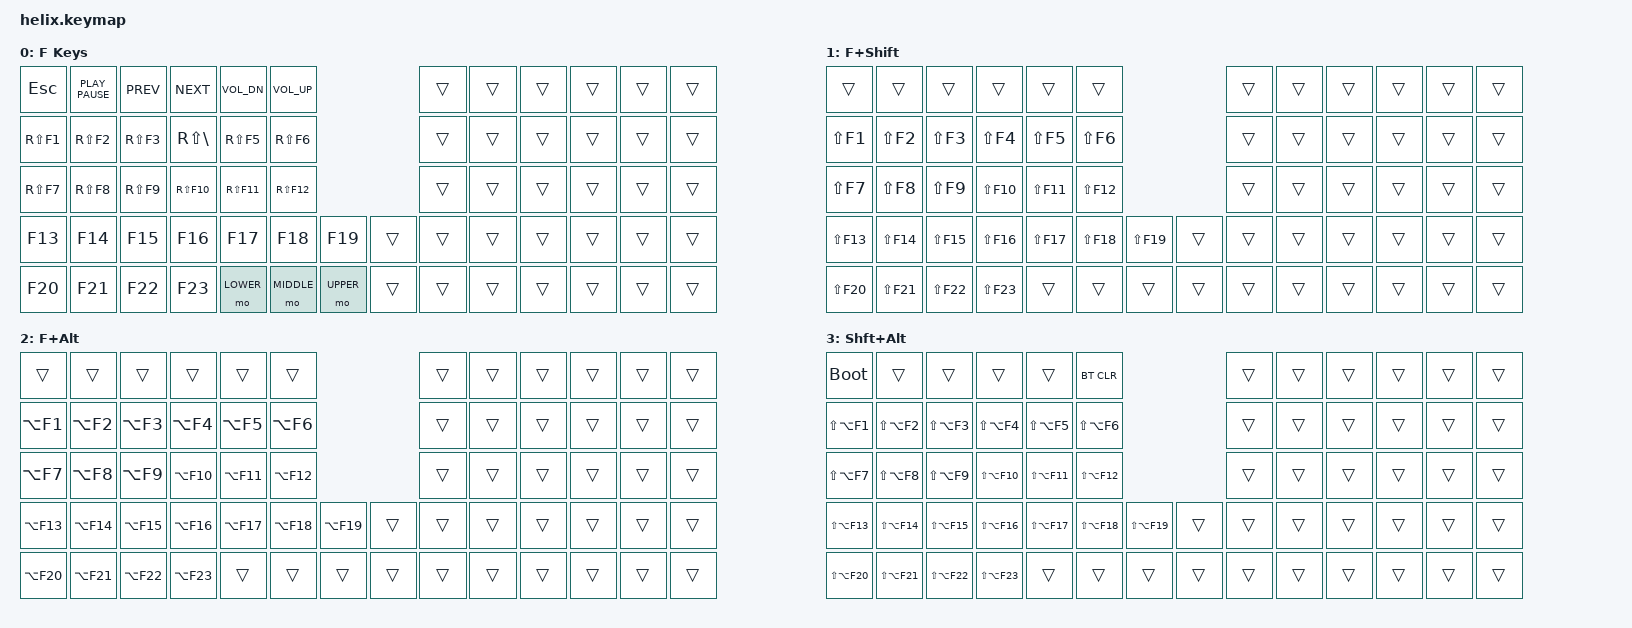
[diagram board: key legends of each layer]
/*
 * Copyright (c) 2020 The ZMK Contributors
 *
 * SPDX-License-Identifier: MIT
 */

#include <behaviors.dtsi>
#include <dt-bindings/zmk/bt.h>
#include <dt-bindings/zmk/keys.h>

#define DEFAULT 0
#define LOWER  1
#define MIDDLE  2
#define UPPER 3

/ {
    keymap {
        compatible = "zmk,keymap";

        default_layer {
            label = "F Keys";
            bindings = <
&kp ESCAPE  &kp K_PLAY_PAUSE  &kp K_PREV  &kp K_NEXT         &kp C_VOL_DN  &kp C_VOLUME_UP                       &trans  &trans  &trans  &trans  &trans  &trans
&kp RS(F1)  &kp RS(F2)        &kp RS(F3)  &kp RS(BACKSLASH)  &kp RS(F5)    &kp RS(F6)                            &trans  &trans  &trans  &trans  &trans  &trans
&kp RS(F7)  &kp RS(F8)        &kp RS(F9)  &kp RS(F10)        &kp RS(F11)   &kp RS(F12)                           &trans  &trans  &trans  &trans  &trans  &trans
&kp F13     &kp F14           &kp F15     &kp F16            &kp F17       &kp F18          &kp F19      &trans  &trans  &trans  &trans  &trans  &trans  &trans
&kp F20     &kp F21           &kp F22     &kp F23            &mo LOWER     &mo MIDDLE       &mo UPPER    &trans  &trans  &trans  &trans  &trans  &trans  &trans
            >;
        };

        lower_layer {
            label = "F+Shift";
            bindings = <
&trans       &trans       &trans       &trans       &trans       &trans                              &trans  &trans  &trans  &trans  &trans  &trans
&kp LS(F1)   &kp LS(F2)   &kp LS(F3)   &kp LS(F4)   &kp LS(F5)   &kp LS(F6)                          &trans  &trans  &trans  &trans  &trans  &trans
&kp LS(F7)   &kp LS(F8)   &kp LS(F9)   &kp LS(F10)  &kp LS(F11)  &kp LS(F12)                         &trans  &trans  &trans  &trans  &trans  &trans
&kp LS(F13)  &kp LS(F14)  &kp LS(F15)  &kp LS(F16)  &kp LS(F17)  &kp LS(F18)  &kp LS(F19)    &trans  &trans  &trans  &trans  &trans  &trans  &trans
&kp LS(F20)  &kp LS(F21)  &kp LS(F22)  &kp LS(F23)  &trans       &trans       &trans         &trans  &trans  &trans  &trans  &trans  &trans  &trans
            >;
        };

        middle_layer {
            label = "F+Alt";
            bindings = <
&trans       &trans       &trans       &trans       &trans       &trans                              &trans  &trans  &trans  &trans  &trans  &trans
&kp LA(F1)   &kp LA(F2)   &kp LA(F3)   &kp LA(F4)   &kp LA(F5)   &kp LA(F6)                          &trans  &trans  &trans  &trans  &trans  &trans
&kp LA(F7)   &kp LA(F8)   &kp LA(F9)   &kp LA(F10)  &kp LA(F11)  &kp LA(F12)                         &trans  &trans  &trans  &trans  &trans  &trans
&kp LA(F13)  &kp LA(F14)  &kp LA(F15)  &kp LA(F16)  &kp LA(F17)  &kp LA(F18)  &kp LA(F19)    &trans  &trans  &trans  &trans  &trans  &trans  &trans
&kp LA(F20)  &kp LA(F21)  &kp LA(F22)  &kp LA(F23)  &trans       &trans       &trans         &trans  &trans  &trans  &trans  &trans  &trans  &trans
            >;
        };

        upper_layer {
            label = "Shft+Alt";
            bindings = <
&bootloader      &trans           &trans           &trans           &trans           &bt BT_CLR                                  &trans  &trans  &trans  &trans  &trans  &trans
&kp LS(LA(F1))   &kp LS(LA(F2))   &kp LS(LA(F3))   &kp LS(LA(F4))   &kp LS(LA(F5))   &kp LS(LA(F6))                              &trans  &trans  &trans  &trans  &trans  &trans
&kp LS(LA(F7))   &kp LS(LA(F8))   &kp LS(LA(F9))   &kp LS(LA(F10))  &kp LS(LA(F11))  &kp LS(LA(F12))                             &trans  &trans  &trans  &trans  &trans  &trans
&kp LS(LA(F13))  &kp LS(LA(F14))  &kp LS(LA(F15))  &kp LS(LA(F16))  &kp LS(LA(F17))  &kp LS(LA(F18))  &kp LS(LA(F19))    &trans  &trans  &trans  &trans  &trans  &trans  &trans
&kp LS(LA(F20))  &kp LS(LA(F21))  &kp LS(LA(F22))  &kp LS(LA(F23))  &trans           &trans           &trans             &trans  &trans  &trans  &trans  &trans  &trans  &trans
            >;
        };
    };
};
